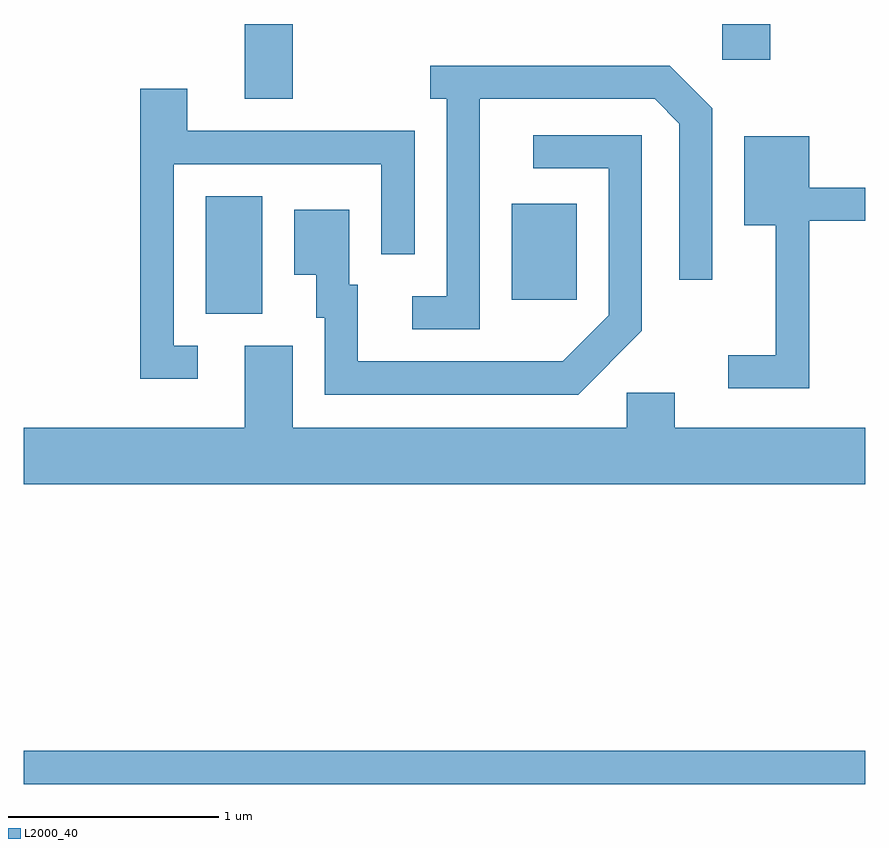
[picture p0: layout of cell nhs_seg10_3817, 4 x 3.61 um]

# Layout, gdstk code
import gdstk
lib = gdstk.Library(unit=1e-6, precision=1e-09)
def R(c, l, rs):  # rectangles x0, y0, x1, y1
    for r in rs: c.add(gdstk.rectangle(r[:2], r[2:], *l))
def P(c, l, *ps):  # polygons
    for p in ps: c.add(gdstk.Polygon(p, *l))
L2000_40 = (2000, 40)

nhs_seg10_3817 = lib.new_cell('nhs_seg10_3817')
R(nhs_seg10_3817, L2000_40, [(297.611,2136.911,301.611,2137.069), (298.476,2139.146,298.744,2139.704), (299.931,2139.211,300.239,2139.669), (298.661,2140.166,298.889,2140.522), (300.931,2140.351,301.159,2140.522)])
P(nhs_seg10_3817, L2000_40, [(299.779,2140.166),(300.609,2140.166),(300.726,2140.049),(300.726,2139.308),(300.884,2139.308),(300.884,2140.122),(300.682,2140.324),(299.543,2140.324),(299.543,2140.166),(299.621,2140.166),(299.621,2139.229),(299.458,2139.229),(299.458,2139.071),(299.779,2139.071)],
  [(298.438,2138.994),(298.324,2138.994),(298.324,2139.856),(299.311,2139.856),(299.311,2139.428),(299.469,2139.428),(299.469,2140.014),(298.389,2140.014),(298.389,2140.214),(298.166,2140.214),(298.166,2138.836),(298.438,2138.836)],
  [(300.549,2139.064),(300.549,2139.994),(300.033,2139.994),(300.033,2139.836),(300.391,2139.836),(300.391,2139.137),(300.174,2138.919),(299.199,2138.919),(299.199,2139.284),(299.159,2139.284),(299.159,2139.639),(298.896,2139.639),(298.896,2139.331),(299.001,2139.331),(299.001,2139.126),(299.041,2139.126),(299.041,2138.761),(300.247,2138.761)],
  [(301.344,2139.586),(301.611,2139.586),(301.611,2139.744),(301.344,2139.744),(301.344,2139.989),(301.036,2139.989),(301.036,2139.566),(301.186,2139.566),(301.186,2138.949),(300.958,2138.949),(300.958,2138.791),(301.344,2138.791)],
  [(301.611,2138.604),(300.704,2138.604),(300.704,2138.769),(300.476,2138.769),(300.476,2138.604),(298.889,2138.604),(298.889,2138.994),(298.661,2138.994),(298.661,2138.604),(297.611,2138.604),(297.611,2138.336),(301.611,2138.336)])

lib.write_gds('nhs_seg10_3817.gds')
